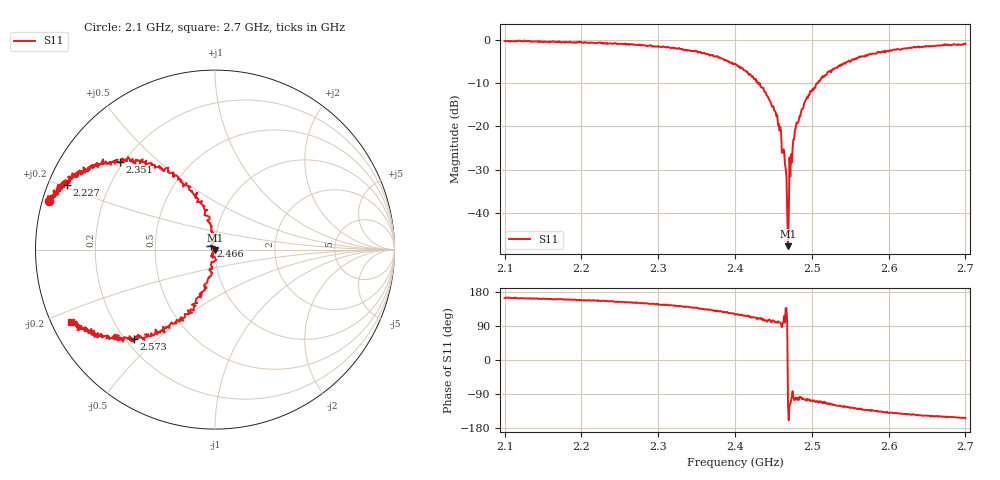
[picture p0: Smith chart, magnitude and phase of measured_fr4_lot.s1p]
! Created with skrf 2.2.0 (http://scikit-rf.org).
# Hz S RI R 50.0
!freq ReS11 ImS11
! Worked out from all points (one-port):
!   601 points, 2.1 GHz to 2.7 GHz, reference 50 ohm
!   lowest |S11| = -47.6 dB at 2.469 GHz (marker M1), VSWR 1.01, Z = 49.8 - j0.369 ohm
!   |S11| at or under -10 dB: 2.429971 GHz to 2.431933 GHz (1.962 MHz wide, 0.0807 % of centre); 2.432 GHz to 2.508 GHz (75.97 MHz wide, 3.08 % of centre)
!   S11 on the Smith chart (normalised r, x): 2.1 GHz: 0.02, +0.14; 2.227 GHz: 0.06, +0.21; 2.351 GHz: 0.19, +0.38; 2.466 GHz: 0.95, +0.04; 2.573 GHz: 0.23, -0.42; 2.7 GHz: 0.06, -0.24
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2.1e9  -0.9241 0.2684
2.175e9  -0.876 0.3271
2.227e9  -0.8243 0.3586
2.25e9  -0.8049 0.398
2.325e9  -0.6218 0.4809
2.351e9  -0.5298 0.4864
2.4e9  -0.2603 0.4575
2.417e9  -0.178 0.3685
2.434e9  -0.1007 0.2645
2.452e9  -0.0256 0.1477
2.457e9  -0.018 0.1058
2.462e9  -0.00613 0.0493
2.465e9  -0.00547 0.0372
2.466e9  -0.0237 0.0222
2.467e9  -0.0191 0.0178
2.469e9  -0.00194 -0.0037
2.471e9  -0.0217 -0.0383
2.472e9  -0.0114 -0.0238
2.474e9  -0.00462 -0.0383
2.475e9  0.00748 -0.0563
2.478e9  -0.0234 -0.0871
2.481e9  -0.028 -0.105
2.496e9  -0.0581 -0.2249
2.521e9  -0.1875 -0.3848
2.55e9  -0.3313 -0.4453
2.573e9  -0.4501 -0.4986
2.625e9  -0.6371 -0.4842
2.7e9  -0.8012 -0.405
